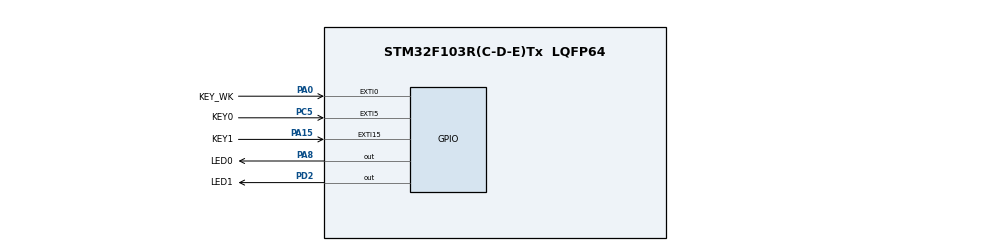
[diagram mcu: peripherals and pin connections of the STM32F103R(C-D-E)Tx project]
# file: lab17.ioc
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Mcu.Family=STM32F1
Mcu.Name=STM32F103R(C-D-E)Tx
Mcu.Package=LQFP64
NVIC.EXTI0_IRQn=true\:1\:0\:true\:false\:true\:true\:true
NVIC.EXTI15_10_IRQn=true\:1\:2\:true\:false\:true\:true\:true
NVIC.EXTI9_5_IRQn=true\:1\:1\:true\:false\:true\:true\:true
NVIC.PriorityGroup=NVIC_PRIORITYGROUP_2
PA0-WKUP.GPIO_Label=KEY_WK
PA0-WKUP.GPIO_PuPd=GPIO_PULLDOWN
PA0-WKUP.Signal=GPXTI0
PA13.Mode=Serial_Wire
PA13.Signal=SYS_JTMS-SWDIO
PA14.Mode=Serial_Wire
PA14.Signal=SYS_JTCK-SWCLK
PA15.GPIO_Label=KEY1
PA15.GPIO_PuPd=GPIO_PULLUP
PA15.Signal=GPXTI15
PA8.GPIO_Label=LED0
PA8.Signal=GPIO_Output
PC5.GPIO_Label=KEY0
PC5.GPIO_PuPd=GPIO_PULLUP
PC5.Signal=GPXTI5
PD2.GPIO_Label=LED1
PD2.Signal=GPIO_Output
ProjectManager.HeapSize=0x200
ProjectManager.StackSize=0x400
ProjectManager.TargetToolchain=SW4STM32
RCC.APB1Freq_Value=8000000
RCC.APB2Freq_Value=8000000
board=custom

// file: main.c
/* USER CODE BEGIN Header */
/**
 ******************************************************************************
 * @file           : main.c
 * @brief          : Main program body
 ******************************************************************************
 * @attention
 *
 * <h2><center>&copy; Copyright (c) 2019 STMicroelectronics.
 * All rights reserved.</center></h2>
 *
 * This software component is licensed by ST under BSD 3-Clause license,
 * the "License"; You may not use this file except in compliance with the
 * License. You may obtain a copy of the License at:
 *                        opensource.org/licenses/BSD-3-Clause
 *
 ******************************************************************************
 */
/* USER CODE END Header */

#include "main.h"

/* USER CODE BEGIN Includes */
#include "lcd.h"
#include "time.h"

/* USER CODE END Includes */

/* USER CODE BEGIN PD */
void record(int x, int y, int type[][4]);
int GameOver(int x, int y, int type[][4]);
void delete(int x, int y, int type[][4]);
int checkAndDraw(int x, int y, int **type, int direction);
void InitialPlane();
void drawPlane(uint16_t x, uint16_t y, int array[][4], uint16_t color);
void clearPlane(int x, int y, int array[][4]);
void DrawPoint(uint16_t x1, uint16_t y1, uint16_t color);
void ClearPoint(uint16_t x1, uint16_t y1);
int create();
int checkCrash(int x, int y, int type[][4], int direction);
int change();
int moveLeft(int x, int y, int type[][4], uint16_t color);
int moveRight(int x, int y, int type[][4], uint16_t color);
int rotate();
int BcheckCrash(int x, int y, int type[][4], int direction);
void inheritence();
void randomCreateFirstOne();
void createNext(int idxx);
void record2(int x, int y, int type[][4]);
void executeDelete(int x);
void deleteLine(int x);
void recordColor(int x, int y, int type[][4],uint16_t col);
void createNext2(int idxx);

/* USER CODE END PD */

void SystemClock_Config(void);
static void MX_GPIO_Init(void);
/* USER CODE BEGIN PFP */
int moveDown(int x, int y, int type[][4], uint16_t color);
/* USER CODE END PFP */

/* USER CODE BEGIN 0 */
int type1[][4] = { { 0, 0, 0, 0 }, { 1, 1, 1, 0 }, { 0, 1, 0, 0 },
                   { 0, 0, 0, 0 } };
int type2[][4] = { { 0, 1, 0, 0 }, { 0, 1, 0, 0 }, { 0, 1, 1, 0 },
                   { 0, 0, 0, 0 } };
int type3[][4] = { { 0, 0, 0, 0 }, { 1, 1, 0, 0 }, { 0, 1, 1, 0 },
                   { 0, 0, 0, 0 } };
int type4[][4] = { { 1, 1, 0, 0 }, { 1, 1, 0, 0 }, { 0, 0, 0, 0 },
                   { 0, 0, 0, 0 } };
int type7[][4] = { { 0, 1, 0, 0 }, { 0, 1, 0, 0 }, { 0, 1, 0, 0 },
                   { 0, 1, 0, 0 } };
int type5[][4] ={{0,1,1,0},{0,1,0,0},{0,1,0,0},{0,0,0,0}};
int type6[][4] ={{0,1,1,0},{1,1,0,0},{0,0,0,0},{0,0,0,0}};
int type0[][4] = { { 0, 0, 0, 0 }, { 1, 1, 1, 1 }, { 0, 0, 0, 0 },
                   { 0, 0, 0, 0 } };
int shapeType = 0; //0代表使用3*3矩阵的形状，1代表正方形，2代表长条
uint16_t container[31][20];
uint16_t static_container[31][20];
uint16_t colorContainer[31][20];
uint16_t color;
int pre;
int base[4][4];
int next[4][4];

int direction_type;
int nextx=2;
int nexty=23;
int nextIDX;
uint16_t next_color;

int next2[4][4];
int next2x=8;
int next2y=23;
int next2IDX;
uint16_t next_2_color;
int user_score;
int user_level;
double user_delay = 15;
double delay;
/* USER CODE END 0 */

int main(void)
{

    /* MCU Configuration--------------------------------------------------------*/

    /* Reset of all peripherals, Initializes the Flash interface and the Systick. */
    HAL_Init();

    /* USER CODE BEGIN Init */
    LCD_Init();
    /* USER CODE END Init */

    /* Configure the system clock */
    SystemClock_Config();

    /* Initialize all configured peripherals */
    MX_GPIO_Init();
    /* USER CODE BEGIN 2 */
    time_t ts;
    unsigned seed;
    seed = time(0);
    srand(seed);
    InitialPlane();
    int x = 0;
    int y = 10;
    next_color=RED;
    next_2_color=BLUE;
    user_score=0;
    delay=user_delay;
    user_level=1;
    for (int i = 0; i < 31; i++) {
        for (int j = 0; j < 20; j++) {
            container[i][j] = 0;
        }
    }

    /* USER CODE END 2 */

    /* Infinite loop */
    /* USER CODE BEGIN WHILE */
    int t = 0;
    next2IDX=create();

    while (1) {
        x = 0;
        y = 14;
        clearPlane(nextx,nexty,next);
        clearPlane(next2x,next2y,next2);
        color=next_color;
        int idx=nextIDX;
        nextIDX=next2IDX;
        next_color=next_2_color;

        switch (idx) {
            case 0:
                for (int i = 0; i < 4; i++) {
                    for (int j = 0; j < 4; j++) {
                        base[i][j] = type0[i][j];
                    }
                }
                break;
            case 1:
                for (int i = 0; i < 4; i++) {
                    for (int j = 0; j < 4; j++) {
                        base[i][j] = type1[i][j];
                    }
                }
                break;
            case 2:
                for (int i = 0; i < 4; i++) {
                    for (int j = 0; j < 4; j++) {
                        base[i][j] = type2[i][j];
                    }
                }
                break;
            case 3:
                for (int i = 0; i < 4; i++) {
                    for (int j = 0; j < 4; j++) {
                        base[i][j] = type3[i][j];
                    }
                }
                break;
            case 4:
                for (int i = 0; i < 4; i++) {
                    for (int j = 0; j < 4; j++) {
                        base[i][j] = type4[i][j];
                    }
                }
                break;
            case 5:
                for (int i = 0; i < 4; i++) {
                    for (int j = 0; j < 4; j++) {
                        base[i][j] = type5[i][j];
                    }
                }
                break;
            case 6:
                for (int i = 0; i < 4; i++) {
                    for (int j = 0; j < 4; j++) {
                        base[i][j] = type6[i][j];
                    }
                }
                break;
        }

        //LCD_ShowNum(20, 40, t, 4, 12);

        delay = user_delay;
        LCD_ShowString(185, 180, 200, 12, 12, (uint8_t*) "level");
        LCD_ShowNum(183,200,user_level,4,12);
        if (GameOver(x, y, base) == 0) {
            drawPlane(x, y, base, color);
            record(x, y, base);
            next2IDX = create();
            createNext2(next2IDX);
            createNext(nextIDX);
            drawPlane(nextx,nexty,next,next_color);
            drawPlane(next2x,next2y,next2,next_2_color);
        } else {
            LCD_ShowString(31, 40, 200, 24, 24, (uint8_t*) "Game Over!");
            break;
        }
        HAL_Delay(10);
//		drawPlane(x, y, type1, BLUE);
        int breakOrNot = 0;
        int shape = idx;
        if(t%10 == 0){
            LCD_ShowString(30,270,200,24,24, (uint8_t*)"Good luck!");
            delay = 0.4;
        }else{
            LCD_ShowString(30,270,200,24,24, (uint8_t*)"Fighting!!");

        }
        t++;
        while (breakOrNot == 0) {
            //LCD_ShowNum(20, 60, delay, 4, 12);
            HAL_Delay(delay);
            //shape = change(shape, x, y);
            int state = moveDown(x, y, base, color);
            if(state==1)x++;
            for (int i=0;i<user_level;i++){
                state=moveDown(x,y,base,color);
                if(state==1)x++;
            }
            int state2=1;
            int state3=1;
            int state4=1;
            if (state == 1) {
                //x++;
                switch (direction_type){
                    case 1:
                        state2=moveLeft(x,y,base,color);
                        if(state2==1){
                            y--;
                        }
                        direction_type=0;
                        break;
                    case 2:
                        state3=moveRight(x,y,base,color);
                        if(state3==1){
                            y++;
                        }
                        direction_type=0;
                        break;
                    case 3:
                        //rotate();
                        shape = change(shape, x, y);
                        direction_type=0;
                        break;
                    default:
                        break;

                }
            } else {
                record2(x,y,base);
                recordColor(x,y,base,color);
                deleteLine(x);
                breakOrNot = 1;
            }
        }
    }
    /* USER CODE END WHILE */

}
//shape = change(shape, x, y);

void SystemClock_Config(void)
{
    RCC_OscInitTypeDef RCC_OscInitStruct = {0};
    RCC_ClkInitTypeDef RCC_ClkInitStruct = {0};

    /** Initializes the CPU, AHB and APB busses clocks
    */
    RCC_OscInitStruct.OscillatorType = RCC_OSCILLATORTYPE_HSI;
    RCC_OscInitStruct.HSIState = RCC_HSI_ON;
    RCC_OscInitStruct.HSICalibrationValue = RCC_HSICALIBRATION_DEFAULT;
    RCC_OscInitStruct.PLL.PLLState = RCC_PLL_NONE;
    if (HAL_RCC_OscConfig(&RCC_OscInitStruct) != HAL_OK)
    {
        Error_Handler();
    }
    /** Initializes the CPU, AHB and APB busses clocks
    */
    RCC_ClkInitStruct.ClockType = RCC_CLOCKTYPE_HCLK|RCC_CLOCKTYPE_SYSCLK
                                  |RCC_CLOCKTYPE_PCLK1|RCC_CLOCKTYPE_PCLK2;
    RCC_ClkInitStruct.SYSCLKSource = RCC_SYSCLKSOURCE_HSI;
    RCC_ClkInitStruct.AHBCLKDivider = RCC_SYSCLK_DIV1;
    RCC_ClkInitStruct.APB1CLKDivider = RCC_HCLK_DIV1;
    RCC_ClkInitStruct.APB2CLKDivider = RCC_HCLK_DIV1;

    if (HAL_RCC_ClockConfig(&RCC_ClkInitStruct, FLASH_LATENCY_0) != HAL_OK)
    {
        Error_Handler();
    }
}

static void MX_GPIO_Init(void)
{
    GPIO_InitTypeDef GPIO_InitStruct = {0};

    /* GPIO Ports Clock Enable */
    __HAL_RCC_GPIOA_CLK_ENABLE();
    __HAL_RCC_GPIOC_CLK_ENABLE();
    __HAL_RCC_GPIOD_CLK_ENABLE();

    /*Configure GPIO pin Output Level */
    HAL_GPIO_WritePin(LED0_GPIO_Port, LED0_Pin, GPIO_PIN_RESET);

    /*Configure GPIO pin Output Level */
    HAL_GPIO_WritePin(LED1_GPIO_Port, LED1_Pin, GPIO_PIN_RESET);

    /*Configure GPIO pin : KEY_WK_Pin */
    GPIO_InitStruct.Pin = KEY_WK_Pin;
    GPIO_InitStruct.Mode = GPIO_MODE_IT_RISING;
    GPIO_InitStruct.Pull = GPIO_PULLDOWN;
    HAL_GPIO_Init(KEY_WK_GPIO_Port, &GPIO_InitStruct);

    /*Configure GPIO pin : KEY0_Pin */
    GPIO_InitStruct.Pin = KEY0_Pin;
    GPIO_InitStruct.Mode = GPIO_MODE_IT_RISING;
    GPIO_InitStruct.Pull = GPIO_PULLUP;
    HAL_GPIO_Init(KEY0_GPIO_Port, &GPIO_InitStruct);

    /*Configure GPIO pin : LED0_Pin */
    GPIO_InitStruct.Pin = LED0_Pin;
    GPIO_InitStruct.Mode = GPIO_MODE_OUTPUT_PP;
    GPIO_InitStruct.Pull = GPIO_NOPULL;
    GPIO_InitStruct.Speed = GPIO_SPEED_FREQ_LOW;
    HAL_GPIO_Init(LED0_GPIO_Port, &GPIO_InitStruct);

    /*Configure GPIO pin : KEY1_Pin */
    GPIO_InitStruct.Pin = KEY1_Pin;
    GPIO_InitStruct.Mode = GPIO_MODE_IT_RISING;
    GPIO_InitStruct.Pull = GPIO_PULLUP;
    HAL_GPIO_Init(KEY1_GPIO_Port, &GPIO_InitStruct);

    /*Configure GPIO pin : LED1_Pin */
    GPIO_InitStruct.Pin = LED1_Pin;
    GPIO_InitStruct.Mode = GPIO_MODE_OUTPUT_PP;
    GPIO_InitStruct.Pull = GPIO_NOPULL;
    GPIO_InitStruct.Speed = GPIO_SPEED_FREQ_LOW;
    HAL_GPIO_Init(LED1_GPIO_Port, &GPIO_InitStruct);

    /* EXTI interrupt init*/
    HAL_NVIC_SetPriority(EXTI0_IRQn, 1, 0);
    HAL_NVIC_EnableIRQ(EXTI0_IRQn);

    HAL_NVIC_SetPriority(EXTI9_5_IRQn, 1, 1);
    HAL_NVIC_EnableIRQ(EXTI9_5_IRQn);

    HAL_NVIC_SetPriority(EXTI15_10_IRQn, 1, 2);
    HAL_NVIC_EnableIRQ(EXTI15_10_IRQn);

}

/* USER CODE BEGIN 4 */

int change(int type, int x, int y) {
    int sum = 0;
    int tmp[4][4];
    if (type == 0) {
        type = 7;
        for (int i = 0; i < 31; i++) {
            for (int j = 0; j < 20; j++) {
                if (container[i][j] == 1) {
                    sum += 1;
                }
            }
        }
        delete(x, y, base);
        record(x, y, type7);
        for (int i = 0; i < 31; i++) {
            for (int j = 0; j < 20; j++) {
                if (container[i][j] == 1) {
                    sum -= 1;
                }
            }
        }
        if (sum == 0) { //无碰??
            clearPlane(x, y, base);
            for (int i = 0; i < 4; i++) {
                for (int j = 0; j < 4; j++) {
                    base[i][j] = type7[i][j];
                }
            }
            drawPlane(x, y, base, color);
        } else {
            delete(x, y, type7);
            record(x, y, base);
        }

    } else if (type == 7) {
        type = 0;
        for (int i = 0; i < 31; i++) {
            for (int j = 0; j < 20; j++) {
                if (container[i][j] == 1) {
                    sum += 1;
                }
            }
        }
        delete(x, y, base);

        record(x, y, type0);
        for (int i = 0; i < 31; i++) {
            for (int j = 0; j < 20; j++) {
                if (container[i][j] == 1) {
                    sum -= 1;
                }
            }
        }
        if (sum == 0) { //无碰??
            clearPlane(x, y, base);
            drawPlane(x, y, type0, color);
            for (int i = 0; i < 4; i++) {
                for (int j = 0; j < 4; j++) {
                    base[i][j] = type0[i][j];
                }
            }

        } else {
            delete(x, y, type0);
            record(x, y, base);
        }

    } else if (type == 4) {
    } else {
        for (int i = 0; i < 31; i++) {
            for (int j = 0; j < 20; j++) {
                if (container[i][j] == 1) {
                    sum += 1;
                }
            }
        }

        delete(x, y, base);
        int ans[4][4] = { { 0, 0, 0, 0 }, { 0, 0, 0, 0 }, { 0, 0, 0, 0 }, { 0,
                               0, 0, 0 } };
        ans[0][2] = base[0][0];
        ans[0][0] = base[2][0];
        ans[2][0] = base[2][2];
        ans[2][2] = base[0][2];
        ans[0][1] = base[1][0];
        ans[1][2] = base[0][1];
        ans[2][1] = base[1][2];
        ans[1][0] = base[2][1];
        ans[1][1] = base[1][1];
        record(x, y, ans);
        for (int i = 0; i < 31; i++) {
            for (int j = 0; j < 20; j++) {
                if (container[i][j] == 1) {
                    sum -= 1;
                }
            }
        }
        if (sum == 0) { //无碰??
            clearPlane(x, y, base);
            drawPlane(x, y, ans, color);
            for (int i = 0; i < 4; i++) {
                for (int j = 0; j < 4; j++) {
                    base[i][j] = ans[i][j];
                }
            }
        } else {
            delete(x, y, ans);
            record(x, y, base);
        }
    }
    return type;
}
/*
 * 随机函数，保证不出现上一次出现过的类??
 * 随机得到旋转的角??
 * 利用上面提到的旋转函数进行转??
 * 顺便取得作画时所用的颜色
 */
int create() {

    int now = rand() % 7;
    while (now == pre) {
        now = rand() % 7;
    }
    pre = now;
    //int type = rand() % 4;
    if (now == 0) {

        next_2_color=BLUE;

    }
    if (now == 1) {

        next_2_color=YELLOW;

    }
    if (now == 2) {

        next_2_color=RED;

    }
    if (now == 3) {
        next_2_color=GREEN;

    }
    if (now == 4) {

        next_2_color=BRRED;
    }
    if(now==5){
        next_2_color=GRAYBLUE;
    }
    if(now==6){
        next_2_color=LIGHTGREEN;
    }
    return now;
}

void createNext(int idxx){
    switch (idxx) {
        case 0:
            for (int i = 0; i < 4; i++) {
                for (int j = 0; j < 4; j++) {

                    next[i][j]=type0[i][j];
                }
            }
            break;
        case 1:
            for (int i = 0; i < 4; i++) {
                for (int j = 0; j < 4; j++) {

                    next[i][j]=type1[i][j];
                }
            }
            break;
        case 2:
            for (int i = 0; i < 4; i++) {
                for (int j = 0; j < 4; j++) {

                    next[i][j]=type2[i][j];
                }
            }
            break;
        case 3:
            for (int i = 0; i < 4; i++) {
                for (int j = 0; j < 4; j++) {

                    next[i][j]=type3[i][j];
                }
            }
            break;
        case 4:
            for (int i = 0; i < 4; i++) {
                for (int j = 0; j < 4; j++) {

                    next[i][j]=type4[i][j];
                }
            }
            break;
        case 5:
            for (int i = 0; i < 4; i++) {
                for (int j = 0; j < 4; j++) {

                    next[i][j]=type5[i][j];
                }
            }
            break;
        case 6:
            for (int i = 0; i < 4; i++) {
                for (int j = 0; j < 4; j++) {

                    next[i][j]=type6[i][j];
                }
            }
            break;
    }
}

void createNext2(int idxx){
    switch (idxx) {
        case 0:
            for (int i = 0; i < 4; i++) {
                for (int j = 0; j < 4; j++) {

                    next2[i][j]=type0[i][j];
                }
            }
            break;
        case 1:
            for (int i = 0; i < 4; i++) {
                for (int j = 0; j < 4; j++) {

                    next2[i][j]=type1[i][j];
                }
            }
            break;
        case 2:
            for (int i = 0; i < 4; i++) {
                for (int j = 0; j < 4; j++) {

                    next2[i][j]=type2[i][j];
                }
            }
            break;
        case 3:
            for (int i = 0; i < 4; i++) {
                for (int j = 0; j < 4; j++) {

                    next2[i][j]=type3[i][j];
                }
            }
            break;
        case 4:
            for (int i = 0; i < 4; i++) {
                for (int j = 0; j < 4; j++) {

                    next2[i][j]=type4[i][j];
                }
            }
            break;
        case 5:
            for (int i = 0; i < 4; i++) {
                for (int j = 0; j < 4; j++) {

                    next2[i][j]=type5[i][j];
                }
            }
            break;
        case 6:
            for (int i = 0; i < 4; i++) {
                for (int j = 0; j < 4; j++) {

                    next2[i][j]=type6[i][j];
                }
            }
            break;
    }
}
/*
 * 返回1代表GameOver
 * 返回0代表继续
 */
int GameOver(int x, int y, int type[][4]) {
    int sum = 0;
    for (int i = 0; i < 31; i++) {
        for (int j = 0; j < 20; j++) {
            sum += container[i][j];
        }
    }
    record(x, y, type);
    int sum2 = 0;
    for (int i = 0; i < 31; i++) {
        for (int j = 0; j < 20; j++) {
            sum2 += container[i][j];
        }
    }
    //LCD_ShowNum(20, 20, (sum2 - sum), 4, 12);
    if (sum2 - sum != 4) {
        return 1;
    } else {
        delete(x, y, type);
    }
    return 0;
}
/*
 * 将当前位??(x,y)的形状写入container
 */
void record(int x, int y, int type[][4]) {
    for (int i = 0; i < 4; i++) {
        for (int j = 0; j < 4; j++) {
            if (type[i][j] == 1 && x + i < 31 && y + j < 20 && x + i >= 0
                && y + j >= 0) {
                container[x + i][y + j] = 1;
            }
        }
    }
}
/*
 * 将停止的形状方块写入static_container
 */
void record2(int x, int y, int type[][4]) {
    for (int i = 0; i < 4; i++) {
        for (int j = 0; j < 4; j++) {
            if (type[i][j] == 1 && x + i < 31 && y + j < 20 && x + i >= 0
                && y + j >= 0) {
                static_container[x + i][y + j] = 1;
            }
        }
    }
}
/*
 * 将颜色信息记录下来
 */
void recordColor(int x, int y, int type[][4],uint16_t col) {
    for (int i = 0; i < 4; i++) {
        for (int j = 0; j < 4; j++) {
            if (type[i][j] == 1 && x + i < 31 && y + j < 20 && x + i >= 0
                && y + j >= 0) {
                colorContainer[x + i][y + j] = col;
            }
        }
    }
}
/*
 * 将container位置(x,y)的形状删??
 */
void delete(int x, int y, int type[][4]) {
    for (int i = 0; i < 4; i++) {
        for (int j = 0; j < 4; j++) {
            if (type[i][j] == 1 && x + i < 31 && y + j < 20 && x + i >= 0
                && y + j >= 0) {
                container[x + i][y + j] = 0;
            }
        }
    }
}
/*
 * 将方块向下移??
 * 返回值表示有没有走到底，0表示到底了，1表示还没??
 */
int moveDown(int x, int y, int type[][4], uint16_t color) {
    if (BcheckCrash(x, y, type, 0) == 0) {
        clearPlane(x, y, type);
        drawPlane(x + 1, y, type, color);
        return 1;
    } else {
        return 0;
    }
}
void deleteLine(int x){
    for(int i=0;i<4;i++){
        if(x+i<31){
            int full = 1;
            for(int j = 0;j<20;j++){
                if(static_container[x+i][j]==0){
                    full = 0;
                }
            }
            if(full == 1){
                executeDelete(x+i);
            }
        }
    }
}
void executeDelete(int x){
    for(int j=0;j<20;j++){
        ClearPoint(j,x);
        container[x][j] = 0;
        static_container[x][j] = 0;
    }
    user_score+=30;
    //LCD_ShowNum(183, 145, user_score, 4, 12);
    //LCD_ShowNum(100, 200, user_score, 4, 12);
    for(int i = x-1;i>=0;i--){
        for(int j=0;j<20;j++){
            if(static_container[i][j]==1){
                ClearPoint(j,i);
                uint16_t col = colorContainer[i][j];
                container[i][j] = 0;
                static_container[i][j] = 0;
                DrawPoint(j,i+1,col);
                container[i+1][j] = 1;
                static_container[i+1][j] = 1;
                colorContainer[i+1][j] = col;
            }
        }
    }
    if(user_score>=user_level*user_level*30*1){
        user_level++;
        LCD_ShowString(35, 80, 200, 12, 24, (uint8_t*) "Level Up!");
        HAL_Delay(100);
        LCD_Fill(35,80,140,104,WHITE);
        //LCD_ShowString(100, 180, 200, 12, 24, (uint8_t*) "level");

        user_delay--;
    }
}
int moveRight(int x, int y, int type[][4], uint16_t color) {
    if (BcheckCrash(x, y, type, 2) == 0) {
        clearPlane(x, y, type);
        drawPlane(x, y+1, type, color);
        return 1;
    } else {
        return 0;
    }
}

int moveLeft(int x, int y, int type[][4], uint16_t color) {
    if (BcheckCrash(x, y, type, 1) == 0) {
        clearPlane(x, y, type);
        drawPlane(x , y-1, type, color);
        return 1;
    } else {
        return 0;
    }
}

/*
 * ??查碰撞，direction是行动方向，0 = down??1 = left??2 = right
 * 有碰撞则返回1，无则返??0
 */
int checkCrash(int x, int y, int type[][4], int direction) {
    int sum = 0;
    uint16_t container_tmp[31][20];
    for (int i = 0; i < 31; i++) {
        for (int j = 0; j < 20; j++) {
            container_tmp[i][j] = container[i][j];
        }
    }
    switch (direction) {
        case 0:	//down
            for (int i = 0; i < 31; i++) {
                for (int j = 0; j < 20; j++) {
                    sum += container[i][j];
                }
            }
            delete(x, y, type);
            record(x + 1, y, type);
            for (int i = 0; i < 31; i++) {
                for (int j = 0; j < 20; j++) {
                    sum -= container[i][j];
                }
            }
            if (sum == 0) {
                return 0;
            } else {
                delete(x + 1, y, type);
                record(x, y, type);
                return 1;
            }
            break;
        case 1:	//left
            sum = 0;
            for (int i = 0; i < 31; i++) {
                for (int j = 0; j < 20; j++) {
                    sum += container[i][j];
                }
            }
            delete(x, y, type);
            record(x, y + 1, type);
            for (int i = 0; i < 31; i++) {
                for (int j = 0; j < 20; j++) {
                    sum -= container[i][j];
                }
            }
            delete(x, y + 1, type);
            record(x, y, type);
            if (sum == 0) {
                return 0;
            } else {
                return 1;
            }
            break;
        case 2:	//right
            sum = 0;
            for (int i = 0; i < 31; i++) {
                for (int j = 0; j < 20; j++) {
                    sum += container[i][j];
                }
            }
            delete(x, y, type);
            record(x, y - 1, type);
            for (int i = 0; i < 31; i++) {
                for (int j = 0; j < 20; j++) {
                    sum -= container[i][j];
                }
            }
            delete(x, y - 1, type);
            record(x, y, type);
            if (sum == 0) {
                return 0;
            } else {
                return 1;
            }
            break;
    }
}

int BcheckCrash(int x, int y, int type[][4], int direction) {
    int sum = 0;
    uint16_t container_tmp[31][20];
    for (int i = 0; i < 31; i++) {
        for (int j = 0; j < 20; j++) {
            container_tmp[i][j] = container[i][j];
            sum+=container_tmp[i][j];
        }
    }

    switch (direction) {
        case 0://down

            //delete

            for (int i = 0; i < 4; i++) {
                for (int j = 0; j < 4; j++) {
                    if (type[i][j] == 1 && x + i < 31 && y + j < 20 && x + i >= 0
                        && y + j >= 0) {
                        container_tmp[x + i][y + j] = 0;
                    }
                }
            }

            //record

            for (int i = 0; i < 4; i++) {
                for (int j = 0; j < 4; j++) {
                    if (type[i][j] == 1 && x+1 + i < 31 && y + j < 20 && x+1 + i >= 0
                        && y + j >= 0) {
                        container_tmp[x+1 + i][y + j] = 1;
                    }
                }
            }

            //delete(x, y, type);
            //record(x + 1, y, type);
            for (int i = 0; i < 31; i++) {
                for (int j = 0; j < 20; j++) {
                    sum -= container_tmp[i][j];
                }
            }
            if (sum == 0) {
                delete(x,y,type);
                record(x+1,y,type);
                return 0;
            } else {
                //delete(x + 1, y, type);
                //record(x, y, type);
                return 1;
            }
            break;
        case 1:	//left

            //delete
            for (int i = 0; i < 4; i++) {
                for (int j = 0; j < 4; j++) {
                    if (type[i][j] == 1 && x + i < 31 && y + j < 20 && x + i >= 0
                        && y + j >= 0) {
                        container_tmp[x + i][y + j] = 0;
                    }
                }
            }

            //record

            for (int i = 0; i < 4; i++) {
                for (int j = 0; j < 4; j++) {
                    if (type[i][j] == 1 && x + i < 31 && y-1 + j < 20 && x + i >= 0
                        && y-1 + j >= 0) {
                        container_tmp[x + i][y-1 + j] = 1;
                    }
                }
            }

            for (int i = 0; i < 31; i++) {
                for (int j = 0; j < 20; j++) {
                    sum -= container_tmp[i][j];
                }
            }
            if (sum == 0) {
                delete(x,y,type);
                record(x,y-1,type);
                return 0;
            } else {

                return 1;
            }
            break;

        case 2:	//right

            //delete
            for (int i = 0; i < 4; i++) {
                for (int j = 0; j < 4; j++) {
                    if (type[i][j] == 1 && x + i < 31 && y + j < 20 && x + i >= 0
                        && y + j >= 0) {
                        container_tmp[x + i][y + j] = 0;
                    }
                }
            }

            //record
            for (int i = 0; i < 4; i++) {
                for (int j = 0; j < 4; j++) {
                    if (type[i][j] == 1 && x + i < 31 && y+1 + j < 20 && x + i >= 0
                        && y+1 + j >= 0) {
                        container_tmp[x + i][y+1 + j] = 1;
                    }
                }
            }

            for (int i = 0; i < 31; i++) {
                for (int j = 0; j < 20; j++) {
                    sum -= container_tmp[i][j];
                }
            }
            if (sum == 0) {
                delete(x,y,type);
                record(x,y+1,type);
                return 0;
            } else {

                return 1;
            }
            break;

    }
}
/*
 * 初始化画布和基础布局
 */
void InitialPlane() {
//    LCD_Set_Window(0,0,250,300);
    LCD_DrawRectangle(0, 248, 160, 253);
    LCD_DrawRectangle(160, 0, 165, 253);
    LCD_Color_Fill(160,0,165,253,BLUE);
    LCD_Color_Fill(0,248,160,253,BLUE);
    LCD_DrawLine(160, 248, 165, 248);
    LCD_Draw_Circle(200,27,25);
    //LCD_ShowString(190, 55, 200, 12, 12, (uint8_t*) "next");
    LCD_Draw_Circle(200,80,25);
    LCD_ShowString(190, 108, 200, 12, 12, (uint8_t*) "next");
    LCD_DrawRectangle(165, 125, 243, 175);
    LCD_Color_Fill(165,125,243,135,BLUE);
    LCD_ShowString(185, 135, 200, 12, 12, (uint8_t*) "score");
    LCD_ShowNum(183, 145, user_score, 4, 12);
    LCD_Color_Fill(165,165,243,175,BLUE);
    LCD_ShowString(185, 180, 200, 12, 12, (uint8_t*) "level");
    LCD_ShowNum(183,200,user_level,4,12);

}
/*
 * 在画布的位置(x,y)加入有形状的方块??
 */
void drawPlane(uint16_t x, uint16_t y, int array[][4], uint16_t color) {
//	LCD_ShowNum(31, 40,array[0][0],2, 24);
    for (uint16_t i = 0; i < 4; i++) {
        for (uint16_t j = 0; j < 4; j++) {
            if (array[i][j] == 1) {
                DrawPoint(y + j, x + i, color);
            }
        }
    }
}
/*
 * 在画布的位置(x,y)擦除方块??
 */
void clearPlane(int x, int y, int array[][4]) {
//	LCD_ShowNum(31, 40,array[0][0],2, 24);
    for (uint16_t i = 0; i < 4; i++) {
        for (uint16_t j = 0; j < 4; j++) {
            if (array[i][j] == 1) {
                ClearPoint(y + j, x + i);
                if (y+j>0 && static_container[x+i][y+j-1]==1){
                    DrawPoint(y+j-1,x+i,colorContainer[x+i][y+j-1]);
                }
                if (y+j+1<31 && static_container[x+i][y+j+1]==1){
                    DrawPoint(y+j+1,x+i,colorContainer[x+i][y+j+1]);
                }
            }
        }
    }
    InitialPlane();
}
/*
 * 像素放大，每??个方块是8*8像素点的集合??
 */
void DrawPoint(uint16_t x1, uint16_t y1, uint16_t color) {
    for (uint16_t i = x1 * 8; i < x1 * 8 + 8; i++) {
        for (uint16_t j = y1 * 8; j < y1 * 8 + 8; j++) {
            LCD_Fast_DrawPoint(i, j, color);
        }
    }

    for (uint16_t i = x1 * 8; i < x1 * 8 + 8; i++) {
        LCD_Fast_DrawPoint(i, y1 * 8, BLACK);
        LCD_Fast_DrawPoint(i, y1 * 8 + 8, BLACK);
        LCD_Fast_DrawPoint(x1 * 8, (y1 * 8 + (i - x1 * 8)), BLACK);
        LCD_Fast_DrawPoint((x1 * 8 + 8), (y1 * 8 + (i - x1 * 8)), BLACK);
    }
}
/*
 * 将方块擦??
 */
void ClearPoint(uint16_t x1, uint16_t y1) {
    for (uint16_t i = x1 * 8; i < x1 * 8 + 8; i++) {
        for (uint16_t j = y1 * 8; j < y1 * 8 + 8; j++) {
            LCD_Fast_DrawPoint(i, j, WHITE);
        }
    }

    for (uint16_t i = x1 * 8; i < x1 * 8 + 8; i++) {
        LCD_Fast_DrawPoint(i, y1 * 8, WHITE);
        LCD_Fast_DrawPoint(i, y1 * 8 + 8, WHITE);
        LCD_Fast_DrawPoint(x1 * 8, (y1 * 8 + (i - x1 * 8)), WHITE);
        LCD_Fast_DrawPoint((x1 * 8 + 8), (y1 * 8 + (i - x1 * 8)), WHITE);
    }
}

void HAL_GPIO_EXTI_Callback(uint16_t GPIO_Pin)
{
    //HAL_Delay(100);
    switch (GPIO_Pin) {
        case KEY_WK_Pin://left
            if (HAL_GPIO_ReadPin(KEY_WK_GPIO_Port, KEY_WK_Pin) == GPIO_PIN_SET) {
                HAL_GPIO_TogglePin(LED0_GPIO_Port, LED0_Pin);
                HAL_GPIO_TogglePin(LED1_GPIO_Port, LED1_Pin);
                direction_type=1;

            } break;

        case KEY1_Pin://rotate
            if (HAL_GPIO_ReadPin(KEY1_GPIO_Port, KEY1_Pin) == GPIO_PIN_RESET) {
                HAL_GPIO_TogglePin(LED1_GPIO_Port, LED1_Pin);
                direction_type=3;
            }
            break;

        case KEY0_Pin://right
            if (HAL_GPIO_ReadPin(KEY0_GPIO_Port, KEY0_Pin) == GPIO_PIN_RESET) {
                HAL_GPIO_TogglePin(LED0_GPIO_Port, LED0_Pin);
                direction_type=2;
            }
            break;

        default:
            direction_type=0;
            break;}
}

/* USER CODE END 4 */

void Error_Handler(void)
{
}

/************************ (C) COPYRIGHT STMicroelectronics *****END OF FILE****/
